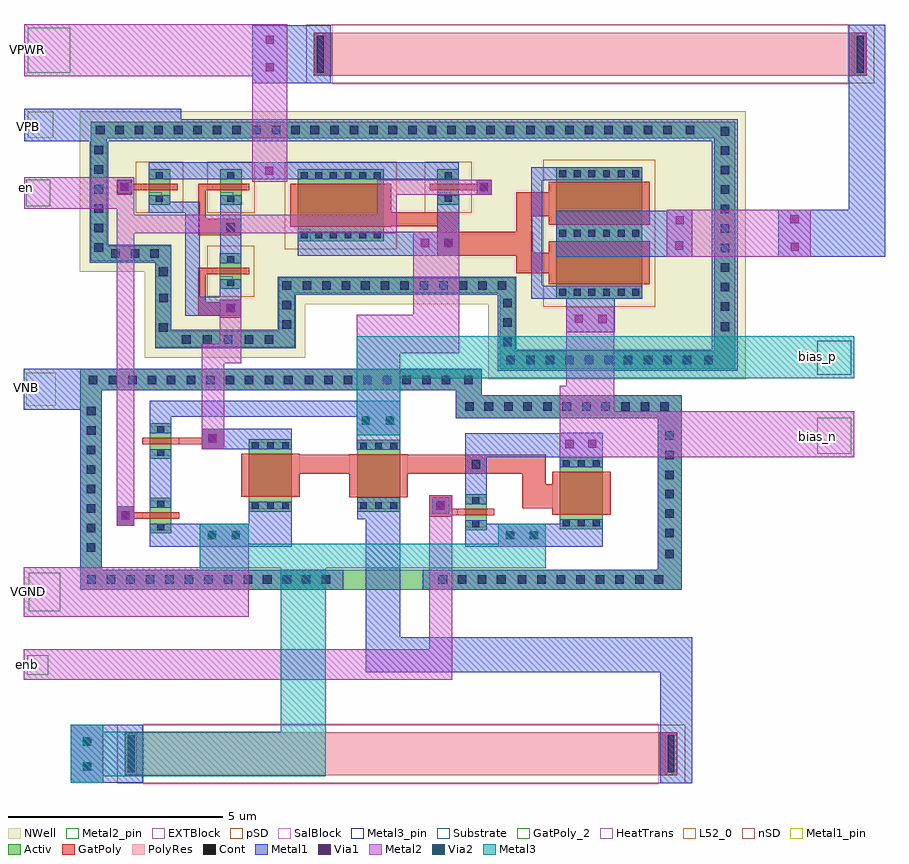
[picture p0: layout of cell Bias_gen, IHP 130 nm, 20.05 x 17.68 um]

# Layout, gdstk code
from math import pi, radians
import gdstk
lib = gdstk.Library(unit=1e-6, precision=5e-09)
def R(c, l, rs):  # rectangles x0, y0, x1, y1
    for r in rs: c.add(gdstk.rectangle(r[:2], r[2:], *l))
def A(c, l, x, y, w, h, nx, ny, dx, dy):  # array of equal rectangles
    R(c, l, [(x+i*dx, y+j*dy, x+i*dx+w, y+j*dy+h) for i in range(nx) for j in range(ny)])
def P(c, l, *ps):  # polygons
    for p in ps: c.add(gdstk.Polygon(p, *l))
Activ = (1, 0)
GatPoly = (5, 0)
GatPoly_2 = (5, 2)
Cont = (6, 0)
nSD = (7, 0)
Metal1 = (8, 0)
Metal1_pin = (8, 2)
Metal2 = (10, 0)
Metal2_pin = (10, 2)
pSD = (14, 0)
Via1 = (19, 0)
SalBlock = (28, 0)
Via2 = (29, 0)
Metal3 = (30, 0)
Metal3_pin = (30, 2)
NWell = (31, 0)
Substrate = (40, 0)
HeatTrans = (51, 0)
L52_0 = (52, 0)
EXTBlock = (111, 0)
PolyRes = (128, 0)

pmos_1 = lib.new_cell('pmos$1')
R(pmos_1, Activ, [(0,0,0.3,0.3), (0,0,0.83,0.5), (0.53,0,0.83,0.3)])
R(pmos_1, GatPoly, [(0.34,-0.18,0.49,0.68), (0.34,-0.18,0.49,0.68)])
R(pmos_1, Cont, [(0.07,0.17,0.23,0.33), (0.6,0.17,0.76,0.33)])
R(pmos_1, Metal1, [(0.07,0,0.23,0.5), (0.07,0,0.23,0.5), (0.6,0,0.76,0.5), (0.6,0,0.76,0.5)])
R(pmos_1, pSD, [(-0.18,-0.3,1.01,0.8)])
R(pmos_1, NWell, [(-0.31,-0.31,1.14,0.81)])
R(pmos_1, Substrate, [(0.53,0,0.83,0.3)])
R(pmos_1, HeatTrans, [(0.34,-0.18,0.49,0.68)])
pmos_1.add(gdstk.Label('pmos', (0.415,0.25), layer=63, texttype=0))
pmos_1.add(gdstk.Label('pmos', (0.415,0.25), layer=51, texttype=0))

pmos_2 = lib.new_cell('pmos$2')
R(pmos_2, Activ, [(0,0,0.3,0.3), (0,0,1.68,2), (1.38,0,1.68,0.3)])
R(pmos_2, GatPoly, [(0.34,-0.18,1.34,2.18), (0.34,-0.18,1.34,2.18)])
A(pmos_2, Cont, 0.07, 0.07, 0.16, 0.16, 1, 6, 0, 0.34)
A(pmos_2, Cont, 1.45, 0.07, 0.16, 0.16, 1, 6, 0, 0.34)
R(pmos_2, Metal1, [(0.07,0,0.23,2), (0.07,0,0.23,2), (1.45,0,1.61,2), (1.45,0,1.61,2)])
R(pmos_2, pSD, [(-0.18,-0.3,1.86,2.3)])
R(pmos_2, NWell, [(-0.31,-0.31,1.99,2.31)])
R(pmos_2, Substrate, [(1.38,0,1.68,0.3)])
R(pmos_2, HeatTrans, [(0.34,-0.18,1.34,2.18)])
pmos_2.add(gdstk.Label('pmos', (0.84,1), layer=63, texttype=0))
pmos_2.add(gdstk.Label('pmos', (0.84,1), layer=51, texttype=0))

pmos = lib.new_cell('pmos')
A(pmos, Activ, 0, 0, 0.3, 0.3, 3, 1, 1.38, 0)
R(pmos, Activ, [(0,0,3.06,2)])
R(pmos, GatPoly, [(0.34,-0.18,1.34,2.18), (0.34,-0.18,1.34,2.18), (1.72,-0.18,2.72,2.18)])
A(pmos, Cont, 0.07, 0.07, 0.16, 0.16, 3, 6, 1.38, 0.34)
R(pmos, Metal1, [(0.07,0,0.23,2), (0.07,0,0.23,2), (1.45,0,1.61,2), (1.45,0,1.61,2), (2.83,0,2.99,2)])
R(pmos, pSD, [(-0.18,-0.3,3.24,2.3)])
R(pmos, NWell, [(-0.31,-0.31,3.37,2.31)])
R(pmos, Substrate, [(2.76,0,3.06,0.3)])
R(pmos, HeatTrans, [(0.34,-0.18,1.34,2.18), (1.72,-0.18,2.72,2.18)])
pmos.add(gdstk.Label('pmos', (0.84,1), layer=63, texttype=0))
pmos.add(gdstk.Label('pmos', (0.84,1), layer=51, texttype=0))
pmos.add(gdstk.Label('pmos', (2.22,1), layer=51, texttype=0))

nmos_1 = lib.new_cell('nmos$1')
R(nmos_1, Activ, [(0,0,0.3,0.3), (0,0,0.83,0.5), (0.53,0,0.83,0.3)])
R(nmos_1, GatPoly, [(0.34,-0.18,0.49,0.68)])
R(nmos_1, GatPoly_2, [(0.34,-0.18,0.49,0.68)])
R(nmos_1, Cont, [(0.07,0.17,0.23,0.33), (0.6,0.17,0.76,0.33)])
R(nmos_1, Metal1, [(0.07,0,0.23,0.5), (0.6,0,0.76,0.5)])
R(nmos_1, Metal1_pin, [(0.07,0,0.23,0.5), (0.6,0,0.76,0.5)])
R(nmos_1, HeatTrans, [(0.34,-0.18,0.49,0.68)])
nmos_1.add(gdstk.Label('nmos', (0.415,0.25), layer=63, texttype=0))
nmos_1.add(gdstk.Label('nmos', (0.415,0.25), layer=51, texttype=0))

nmos_2 = lib.new_cell('nmos$2')
R(nmos_2, Activ, [(0,0,0.3,0.3), (0,0,1.68,1), (1.38,0,1.68,0.3)])
R(nmos_2, GatPoly, [(0.34,-0.18,1.34,1.18)])
R(nmos_2, GatPoly_2, [(0.34,-0.18,1.34,1.18)])
A(nmos_2, Cont, 0.07, 0.07, 0.16, 0.16, 1, 3, 0, 0.35)
A(nmos_2, Cont, 1.45, 0.07, 0.16, 0.16, 1, 3, 0, 0.35)
R(nmos_2, Metal1, [(0.07,0,0.23,1), (1.45,0,1.61,1)])
R(nmos_2, Metal1_pin, [(0.07,0,0.23,1), (1.45,0,1.61,1)])
R(nmos_2, HeatTrans, [(0.34,-0.18,1.34,1.18)])
nmos_2.add(gdstk.Label('nmos', (0.84,0.5), layer=63, texttype=0))
nmos_2.add(gdstk.Label('nmos', (0.84,0.5), layer=51, texttype=0))

rhigh_1 = lib.new_cell('rhigh$1')
R(rhigh_1, GatPoly, [(0,-0.43,1,0), (0,12,1,12.43)])
R(rhigh_1, Cont, [(0.07,-0.36,0.93,-0.2), (0.07,12.2,0.93,12.36)])
R(rhigh_1, nSD, [(-0.18,-0.61,1.18,0.18), (-0.18,0,1.18,12), (-0.18,0,1.18,12), (-0.18,11.82,1.18,12.61)])
R(rhigh_1, Metal1, [(0.02,-0.41,0.98,-0.15), (0.02,12.15,0.98,12.41)])
R(rhigh_1, Metal1_pin, [(0.02,-0.41,0.98,-0.15), (0.02,12.15,0.98,12.41)])
R(rhigh_1, pSD, [(-0.18,-0.61,1.18,0.18), (-0.18,0,1.18,12), (-0.18,0,1.18,12), (-0.18,11.82,1.18,12.61)])
R(rhigh_1, SalBlock, [(-0.2,0,1.2,12)])
R(rhigh_1, L52_0, [(0,0,1,12)])
R(rhigh_1, EXTBlock, [(-0.18,-0.61,1.18,0.18), (-0.2,0,1.2,12), (-0.18,11.82,1.18,12.61)])
R(rhigh_1, PolyRes, [(0,0,1,12)])
rhigh_1.add(gdstk.Label('rpnd r=17160.000', (0.5,6), layer=63, texttype=0))
rhigh_1.add(gdstk.Label('rhigh', (0.5,6), layer=52, texttype=0))

bias_gen = lib.new_cell('Bias_gen')
P(bias_gen, Activ, [(-0.245,-19.39),(-0.245,-14.75),(0.25,-14.75),(0.25,-18.925),(8.585,-18.925),(13.19,-18.925),(13.19,-15.4),(8.49,-15.4),(8.49,-14.75),(-0.245,-14.75),(-0.245,-14.25),(9.1,-14.25),(9.1,-14.865),(13.75,-14.865),(13.75,-19.39)],
  [(9.515,-14.255),(9.515,-12.5),(4.75,-12.5),(4.75,-13.75),(1.5,-13.75),(1.5,-11.745),(0,-11.745),(0,-8.89),(0.37,-8.89),(0.37,-11.39),(1.875,-11.39),(1.875,-13.375),(4.37,-13.375),(4.37,-12.135),(9.875,-12.135),(9.875,-13.835),(14.51,-13.835),(14.51,-8.89),(0,-8.89),(0,-8.5),(14.99,-8.5),(14.99,-14.255)])
P(bias_gen, GatPoly, [(2.585,-16.125),(2.585,-16.01),(1.195,-16.01),(1.195,-15.86),(2.585,-15.86),(2.585,-15.65),(3.1,-15.65),(3.1,-16.125)],
  [(10.035,-17.495),(10.035,-16.695),(3.5,-16.695),(3.5,-16.25),(10.585,-16.25),(10.585,-16.945),(12.095,-16.945),(12.095,-17.495),(10.585,-17.495)],
  [(0.6,-17.9),(0.6,-17.45),(1.015,-17.45),(1.015,-17.595),(2.055,-17.595),(2.055,-17.745),(1.015,-17.745),(1.015,-17.9)],
  [(7.875,-17.695),(7.875,-17.2),(8.4,-17.2),(8.4,-17.515),(9.39,-17.515),(9.39,-17.665),(8.4,-17.665),(8.4,-17.695)],
  [(0.6,-10.2),(0.6,-9.85),(0.96,-9.85),(0.96,-9.95),(2.025,-9.95),(2.025,-10.1),(0.96,-10.1),(0.96,-10.2)],
  [(2.5,-11.15),(2.5,-9.95),(3.69,-9.95),(3.69,-10.1),(2.675,-10.1),(2.675,-10.765),(3.505,-10.765),(3.505,-11.15)],
  [(3.005,-13.065),(3.005,-13.015),(2.5,-13.015),(2.5,-11.905),(3.685,-11.905),(3.685,-12.055),(2.675,-12.055),(2.675,-12.705),(3.005,-12.705),(3.005,-12.65),(3.505,-12.65),(3.505,-13.065)],
  [(8.975,-10.2),(8.975,-10.1),(7.885,-10.1),(7.885,-9.95),(8.975,-9.95),(8.975,-9.85),(9.33,-9.85),(9.33,-10.2)],
  [(10.65,-12.285),(10.65,-12.035),(9.9,-12.035),(9.9,-11.62),(8.065,-11.62),(8.065,-10.94),(6.995,-10.94),(6.995,-10.95),(4.635,-10.95),(4.635,-9.95),(6.995,-9.95),(6.995,-10.615),(8.57,-10.615),(8.57,-11.06),(9.9,-11.06),(9.9,-10.15),(10.65,-10.15),(10.65,-9.905),(13.01,-9.905),(13.01,-10.905),(10.65,-10.905),(10.65,-10.7),(10.27,-10.7),(10.27,-11.06),(10.28,-11.06),(10.28,-11.55),(10.65,-11.55),(10.65,-11.285),(13.01,-11.285),(13.01,-12.285)])
A(bias_gen, Cont, 2.61, -13.67, 0.2, 0.2, 3, 1, 0.485, 0)
R(bias_gen, Cont, [(-0.08,-19.26,0.12,-19.06), (0.37,-19.26,0.57,-19.06), (0.825,-19.26,1.025,-19.06), (1.275,-19.26,1.475,-19.06), (1.735,-19.26,1.935,-19.06), (2.185,-19.26,2.385,-19.06), (2.64,-19.26,2.84,-19.06), (3.09,-19.26,3.29,-19.06), (8.09,-19.26,8.29,-19.06), (8.54,-19.26,8.74,-19.06), (9,-19.26,9.2,-19.06), (9.45,-19.26,9.65,-19.06), (3.555,-19.255,3.755,-19.055), (3.555,-19.255,3.755,-19.055), (3.555,-19.255,3.755,-19.055), (4.005,-19.255,4.205,-19.055), (4.46,-19.255,4.66,-19.055), (4.91,-19.255,5.11,-19.055), (5.37,-19.255,5.57,-19.055), (9.935,-19.255,10.135,-19.055), (10.385,-19.255,10.585,-19.055), (10.84,-19.255,11.04,-19.055), (11.29,-19.255,11.49,-19.055), (11.75,-19.255,11.95,-19.055), (12.2,-19.255,12.4,-19.055), (12.665,-19.255,12.865,-19.055), (13.115,-19.255,13.315,-19.055), (13.37,-18.66,13.57,-18.46), (-0.095,-18.51,0.105,-18.31), (13.37,-18.175,13.57,-17.975), (-0.095,-18.06,0.105,-17.86), (0.705,-17.77,0.905,-17.57), (13.37,-17.725,13.57,-17.525), (-0.095,-17.6,0.105,-17.4), (8.035,-17.54,8.235,-17.34), (13.37,-17.27,13.57,-17.07), (-0.095,-17.15,0.105,-16.95), (13.37,-16.82,13.57,-16.62), (-0.095,-16.695,0.105,-16.495), (8.86,-16.575,9.06,-16.375), (13.37,-16.36,13.57,-16.16), (-0.095,-16.245,0.105,-16.045), (2.735,-15.98,2.935,-15.78), (13.37,-15.91,13.57,-15.71), (-0.09,-15.785,0.11,-15.585), (-0.09,-15.335,0.11,-15.135), (8.71,-15.235,8.91,-15.035), (9.16,-15.235,9.36,-15.035), (9.615,-15.235,9.815,-15.035), (10.065,-15.235,10.265,-15.035), (10.525,-15.235,10.725,-15.035), (10.975,-15.235,11.175,-15.035), (11.43,-15.235,11.63,-15.035), (11.88,-15.235,12.08,-15.035), (12.345,-15.23,12.545,-15.03), (12.345,-15.23,12.545,-15.03), (12.345,-15.23,12.545,-15.03), (12.795,-15.23,12.995,-15.03), (13.25,-15.23,13.45,-15.03), (2.23,-14.615,2.43,-14.415), (2.68,-14.615,2.88,-14.415), (3.135,-14.615,3.335,-14.415), (3.585,-14.615,3.785,-14.415), (4.045,-14.615,4.245,-14.415), (4.495,-14.615,4.695,-14.415), (8.69,-14.615,8.89,-14.415), (-0.045,-14.61,0.155,-14.41), (0.415,-14.61,0.615,-14.41), (0.865,-14.61,1.065,-14.41), (1.32,-14.61,1.52,-14.41), (1.77,-14.61,1.97,-14.41), (4.98,-14.61,5.18,-14.41), (5.43,-14.61,5.63,-14.41), (5.885,-14.61,6.085,-14.41), (6.335,-14.61,6.535,-14.41), (6.795,-14.61,6.995,-14.41), (7.245,-14.61,7.445,-14.41), (7.71,-14.61,7.91,-14.41), (8.16,-14.61,8.36,-14.41), (12.87,-14.15,13.07,-13.95), (13.32,-14.15,13.52,-13.95), (13.775,-14.15,13.975,-13.95), (13.775,-14.15,13.975,-13.95), (14.275,-14.15,14.475,-13.95), (9.665,-14.145,9.865,-13.945), (10.135,-14.145,10.335,-13.945), (10.585,-14.145,10.785,-13.945), (11.04,-14.145,11.24,-13.945), (11.49,-14.145,11.69,-13.945), (11.95,-14.145,12.15,-13.945), (12.4,-14.145,12.6,-13.945), (9.6,-13.73,9.8,-13.53), (2.12,-13.67,2.32,-13.47), (4.05,-13.67,4.25,-13.47), (1.585,-13.395,1.785,-13.195), (14.66,-13.375,14.86,-13.175), (4.46,-13.325,4.66,-13.125), (9.6,-13.275,9.8,-13.075), (3.155,-12.94,3.355,-12.74), (14.66,-12.9,14.86,-12.7), (4.46,-12.865,4.66,-12.665), (9.6,-12.825,9.8,-12.625), (1.59,-12.705,1.79,-12.505), (14.66,-12.45,14.86,-12.25), (4.46,-12.415,4.66,-12.215), (4.93,-12.415,5.13,-12.215), (5.38,-12.415,5.58,-12.215), (5.835,-12.415,6.035,-12.215), (6.285,-12.415,6.485,-12.215), (6.745,-12.415,6.945,-12.215), (7.195,-12.415,7.395,-12.215), (7.655,-12.415,7.855,-12.215), (8.105,-12.415,8.305,-12.215), (8.56,-12.415,8.76,-12.215), (9.01,-12.415,9.21,-12.215), (9.47,-12.415,9.67,-12.215), (1.585,-12.095,1.785,-11.895), (14.66,-11.995,14.86,-11.795), (0.475,-11.67,0.675,-11.47), (0.925,-11.67,1.125,-11.47), (1.38,-11.67,1.58,-11.47), (14.66,-11.545,14.86,-11.345), (0.085,-11.53,0.285,-11.33), (8.22,-11.43,8.42,-11.23), (14.66,-11.085,14.86,-10.885), (0.085,-11.08,0.285,-10.88), (3.155,-11.06,3.355,-10.86), (14.66,-10.635,14.86,-10.435), (0.085,-10.625,0.285,-10.425), (14.655,-10.18,14.855,-9.98), (0.085,-10.175,0.285,-9.975), (0.68,-10.125,0.88,-9.925), (9.05,-10.125,9.25,-9.925), (14.655,-9.73,14.855,-9.53), (0.085,-9.715,0.285,-9.515), (14.655,-9.275,14.855,-9.075), (0.085,-9.265,0.285,-9.065), (14.655,-8.825,14.855,-8.625), (0.12,-8.8,0.32,-8.6), (0.57,-8.8,0.77,-8.6), (1.025,-8.8,1.225,-8.6), (1.475,-8.8,1.675,-8.6), (1.935,-8.8,2.135,-8.6), (2.385,-8.8,2.585,-8.6), (2.84,-8.8,3.04,-8.6), (3.29,-8.8,3.49,-8.6), (7.385,-8.8,7.585,-8.6), (7.835,-8.8,8.035,-8.6), (8.29,-8.8,8.49,-8.6), (8.74,-8.8,8.94,-8.6), (9.2,-8.8,9.4,-8.6), (9.65,-8.8,9.85,-8.6), (13.845,-8.8,14.045,-8.6), (3.755,-8.795,3.955,-8.595), (3.755,-8.795,3.955,-8.595), (3.755,-8.795,3.955,-8.595), (4.205,-8.795,4.405,-8.595), (4.66,-8.795,4.86,-8.595), (5.11,-8.795,5.31,-8.595), (5.57,-8.795,5.77,-8.595), (6.02,-8.795,6.22,-8.595), (6.475,-8.795,6.675,-8.595), (6.925,-8.795,7.125,-8.595), (10.135,-8.795,10.335,-8.595), (10.585,-8.795,10.785,-8.595), (11.04,-8.795,11.24,-8.595), (11.49,-8.795,11.69,-8.595), (11.95,-8.795,12.15,-8.595), (12.4,-8.795,12.6,-8.595), (12.865,-8.795,13.065,-8.595), (13.315,-8.795,13.515,-8.595)])
R(bias_gen, Metal1, [(-0.47,-23.89,1.21,-22.535), (0.6,-17.9,1.015,-17.45), (7.95,-17.63,8.335,-17.24), (1.375,-17.485,1.875,-16.12), (2.585,-16.125,4.68,-15.65), (3.01,-11.795,3.505,-10.21), (8.975,-10.2,9.33,-9.85), (0.625,-10.18,0.94,-9.87), (1.345,-9.84,8.565,-9.45), (3.755,-7.61,5.585,-6.26)])
P(bias_gen, Metal1, [(16,-11.645),(16,-10.55),(17.64,-10.55),(17.64,-6.25),(18.49,-6.25),(18.49,-11.645)],
  [(8.71,-18.395),(8.71,-17.855),(8.71,-17.775),(9.21,-17.775),(9.21,-17.855),(10.915,-17.855),(10.915,-17.76),(11.915,-17.76),(11.915,-18.395)],
  [(1.375,-18.395),(1.375,-17.855),(3.68,-17.855),(3.68,-17.345),(4.68,-17.345),(4.68,-18.395)],
  [(13.25,-23.895),(13.25,-21.32),(6.4,-21.32),(6.4,-17.75),(6.195,-17.75),(6.195,-17.245),(7.195,-17.245),(7.195,-20.495),(14,-20.495),(14,-23.895)],
  [(-0.245,-19.39),(-0.245,-15.205),(-1.565,-15.205),(-1.565,-14.25),(9.1,-14.25),(9.1,-14.865),(13.75,-14.865),(13.75,-19.39),(7.725,-19.39),(7.725,-18.925),(13.19,-18.925),(13.19,-15.4),(8.495,-15.4),(8.495,-14.75),(0.25,-14.75),(0.25,-18.925),(5.875,-18.925),(5.875,-19.39)],
  [(9.465,-14.3),(9.465,-12.525),(4.77,-12.525),(4.77,-13.775),(1.5,-13.775),(1.5,-11.785),(-0.03,-11.785),(-0.03,-8.955),(0.4,-8.955),(0.4,-11.37),(1.875,-11.37),(1.875,-13.35),(4.35,-13.35),(4.35,-12.11),(9.9,-12.11),(9.9,-13.805),(14.45,-13.805),(14.45,-8.955),(-0.03,-8.955),(-0.03,-8.445),(-0.03,-8.96),(-1.545,-8.96),(-1.545,-8.2),(2.105,-8.2),(2.105,-8.445),(15.05,-8.445),(15.05,-14.3)],
  [(6.19,-16.135),(6.19,-15.365),(1.875,-15.365),(1.875,-15.75),(1.375,-15.75),(1.375,-15),(7.195,-15),(7.195,-16.135)],
  [(8.715,-17.405),(8.715,-15.75),(10.915,-15.75),(10.915,-15.745),(11.915,-15.745),(11.915,-16.53),(10.915,-16.53),(10.915,-16.31),(9.215,-16.31),(9.215,-16.465),(9.21,-16.465),(9.21,-17.405)],
  [(10.83,-11.645),(10.83,-10.57),(13.4,-10.57),(13.4,-10.55),(14,-10.55),(14,-10.57),(14,-11.645)],
  [(2.195,-13.015),(2.195,-10.62),(1.345,-10.62),(1.345,-10.21),(1.845,-10.21),(1.845,-10.37),(2.54,-10.37),(2.54,-12.575),(3.005,-12.575),(3.005,-12.165),(3.505,-12.165),(3.505,-13.015)],
  [(4.815,-11.62),(4.815,-11.06),(8.065,-11.06),(8.065,-10.21),(8.57,-10.21),(8.57,-11.62)],
  [(11.06,-13.4),(11.06,-12.625),(10.25,-12.625),(10.25,-9.56),(12.83,-9.56),(12.83,-9.87),(10.5,-9.87),(10.5,-12.325),(12.83,-12.325),(12.83,-12.625),(12.19,-12.625),(12.19,-13.4)])
R(bias_gen, Metal1_pin, [(-1.5,-15.11,-0.815,-14.34), (-1.47,-8.88,-0.87,-8.27)])
R(bias_gen, Metal2, [(-0.47,-23.89,0.285,-22.535), (9.475,-18.395,10.59,-17.855), (13.4,-11.645,16.755,-10.55)])
P(bias_gen, Metal2, [(2.58,-16.125),(2.58,-13.67),(3.005,-13.67),(3.005,-12.65),(3.505,-12.65),(3.505,-14.125),(3.1,-14.125),(3.1,-16.125)],
  [(6.19,-15.8),(6.19,-13),(7.5,-13),(7.5,-11.06),(8.575,-11.06),(8.575,-13.895),(7.195,-13.895),(7.195,-15.8)],
  [(3.755,-9.9),(3.755,-7.45),(-1.545,-7.45),(-1.545,-6.235),(4.57,-6.235),(4.57,-9.9)],
  [(0.6,-17.9),(0.6,-10.53),(-1.545,-10.53),(-1.545,-9.8),(1.01,-9.8),(1.01,-10.67),(6.66,-10.67),(6.66,-9.85),(9.33,-9.85),(9.33,-10.2),(7.115,-10.2),(7.115,-11.095),(1.015,-11.095),(1.015,-17.9)],
  [(10.915,-16.31),(10.915,-14.645),(11.06,-14.645),(11.06,-12.805),(12.185,-12.805),(12.185,-15.245),(17.765,-15.245),(17.765,-16.31)],
  [(-1.565,-21.49),(-1.565,-20.775),(7.875,-20.775),(7.875,-17.2),(8.405,-17.2),(8.405,-21.49)],
  [(-1.565,-20.025),(-1.565,-18.875),(2.53,-18.875),(2.53,-17.855),(3.675,-17.855),(3.675,-19.345),(3.675,-20.025)])
R(bias_gen, Metal2_pin, [(-1.485,-21.37,-0.99,-20.92), (-1.45,-19.895,-0.71,-19.005), (16.905,-16.23,17.69,-15.39), (-1.5,-10.47,-0.95,-9.85), (-1.465,-7.37,-0.475,-6.32)])
P(bias_gen, pSD, [(-0.245,-19.39),(-0.245,-14.75),(0.25,-14.75),(0.25,-18.925),(8.49,-18.925),(13.19,-18.925),(13.19,-15.4),(8.49,-15.4),(8.49,-14.75),(-0.245,-14.75),(-0.245,-14.25),(9.1,-14.25),(9.1,-14.865),(13.75,-14.865),(13.75,-19.39)])
R(bias_gen, Via1, [(-0.185,-23.605,0.005,-23.415), (-0.185,-23.015,0.005,-22.825), (10.215,-18.225,10.405,-18.035), (9.665,-18.22,9.855,-18.03), (2.72,-18.215,2.91,-18.025), (3.28,-18.215,3.47,-18.025), (0.71,-17.765,0.9,-17.575), (8.045,-17.535,8.235,-17.345), (11.045,-16.1,11.235,-15.91), (11.57,-16.095,11.76,-15.905), (2.74,-15.975,2.93,-15.785), (6.305,-15.55,6.495,-15.36), (6.87,-15.55,7.06,-15.36), (11.81,-13.19,12,-13), (11.26,-13.185,11.45,-12.995), (3.155,-12.94,3.345,-12.75), (16.285,-11.51,16.475,-11.32), (13.6,-11.48,13.79,-11.29), (7.68,-11.42,7.87,-11.23), (8.23,-11.42,8.42,-11.23), (13.61,-10.89,13.8,-10.7), (16.28,-10.865,16.47,-10.675), (9.05,-10.125,9.24,-9.935), (0.69,-10.115,0.88,-9.925), (4.06,-9.74,4.25,-9.55), (4.07,-7.335,4.26,-7.145), (4.065,-6.69,4.255,-6.5)])
R(bias_gen, Via2, [(-0.19,-23.6,0,-23.41), (-0.19,-23.025,0,-22.835), (10.22,-18.225,10.41,-18.035), (9.655,-18.22,9.845,-18.03), (2.725,-18.215,2.915,-18.025), (3.275,-18.215,3.465,-18.025), (6.3,-15.545,6.49,-15.355), (6.865,-15.545,7.055,-15.355)])
P(bias_gen, Metal3, [(-0.47,-23.89),(-0.47,-22.535),(0.285,-22.535),(0.285,-22.695),(4.42,-22.695),(4.42,-18.9),(2.53,-18.9),(2.53,-17.855),(3.675,-17.855),(3.675,-18.32),(9.475,-18.32),(9.475,-17.855),(10.59,-17.855),(10.59,-18.9),(5.465,-18.9),(5.465,-23.735),(0.285,-23.735),(0.285,-23.89)],
  [(6.19,-15.8),(6.19,-13.495),(17.765,-13.495),(17.765,-14.475),(7.195,-14.475),(7.195,-15.8)])
R(bias_gen, Metal3_pin, [(16.9,-14.395,17.7,-13.6)])
P(bias_gen, NWell, [(9.245,-14.495),(9.245,-12.75),(4.99,-12.75),(4.99,-14),(1.25,-14),(1.25,-12),(-0.255,-12),(-0.255,-8.255),(15.24,-8.255),(15.24,-14.495)])
bias_gen.add(gdstk.Reference(pmos_1, (3.01,-9.61), rotation=3*pi/2))
bias_gen.add(gdstk.Reference(pmos_1, (1.345,-9.61), rotation=3*pi/2))
bias_gen.add(gdstk.Reference(pmos_1, (3.005,-11.565), rotation=3*pi/2))
bias_gen.add(gdstk.Reference(pmos_2, (4.815,-9.61), rotation=3*pi/2))
bias_gen.add(gdstk.Reference(pmos_1, (8.065,-9.61), rotation=3*pi/2))
bias_gen.add(gdstk.Reference(pmos, (10.83,-9.565), rotation=3*pi/2))
bias_gen.add(gdstk.Reference(nmos_1, (1.375,-15.52), rotation=3*pi/2))
bias_gen.add(gdstk.Reference(nmos_1, (1.375,-17.255), rotation=3*pi/2))
bias_gen.add(gdstk.Reference(nmos_2, (3.68,-15.895), rotation=3*pi/2))
bias_gen.add(gdstk.Reference(nmos_1, (8.71,-17.175), rotation=3*pi/2))
bias_gen.add(gdstk.Reference(nmos_2, (10.915,-16.31), rotation=3*pi/2))
bias_gen.add(gdstk.Reference(nmos_2, (6.195,-15.905), rotation=3*pi/2))
bias_gen.add(gdstk.Reference(rhigh_1, (17.62,-7.43), rotation=pi/2))
bias_gen.add(gdstk.Reference(rhigh_1, (13.22,-23.715), rotation=pi/2))
bias_gen.add(gdstk.Label('bias_p', (16.9,-13.975), layer=8, texttype=0))
bias_gen.add(gdstk.Label('bias_n', (16.905,-15.83), layer=8, texttype=0))
bias_gen.add(gdstk.Label('enb', (-1.485,-21.14), layer=8, texttype=0))
bias_gen.add(gdstk.Label('VGND', (-1.45,-19.425), layer=8, texttype=0))
bias_gen.add(gdstk.Label('VNB', (-1.5,-14.685), layer=8, texttype=0))
bias_gen.add(gdstk.Label('VPWR', (-1.465,-6.83), layer=8, texttype=0))
bias_gen.add(gdstk.Label('VPB', (-1.46,-8.61), layer=8, texttype=2))
bias_gen.add(gdstk.Label('en', (-1.5,-10.035), layer=10, texttype=2))

lib.write_gds('Bias_gen.gds')
